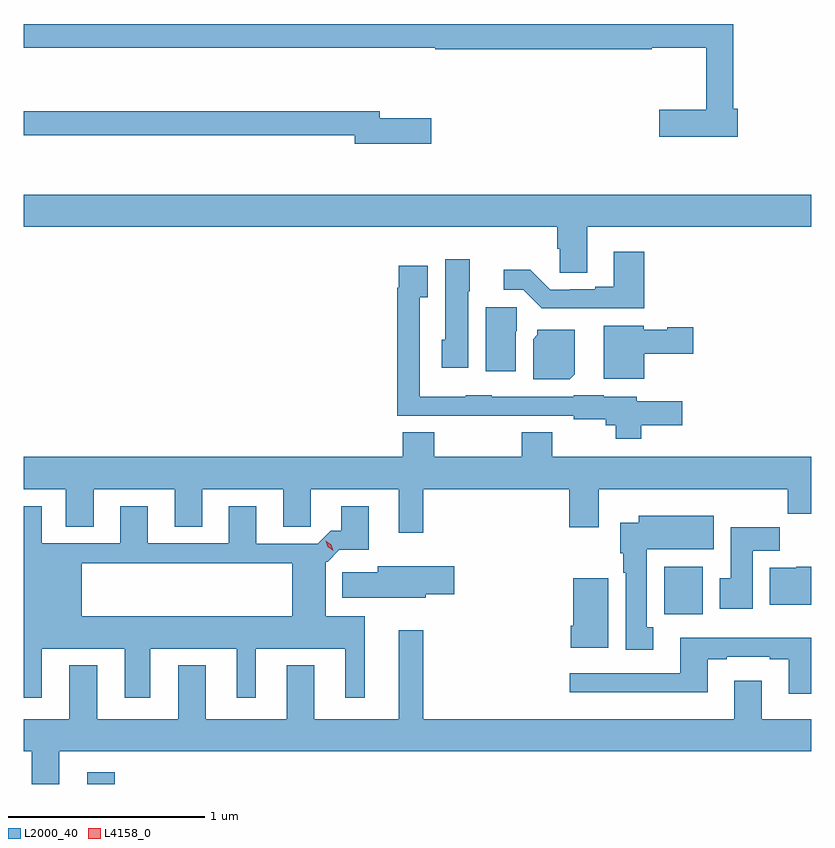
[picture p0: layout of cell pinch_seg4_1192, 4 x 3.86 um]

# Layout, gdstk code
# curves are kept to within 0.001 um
import gdstk
lib = gdstk.Library(unit=1e-6, precision=1e-09)
def R(c, l, rs):  # rectangles x0, y0, x1, y1
    for r in rs: c.add(gdstk.rectangle(r[:2], r[2:], *l))
def P(c, l, *ps):  # polygons
    for p in ps: c.add(gdstk.Polygon(p, *l))
L2000_40 = (2000, 40)
L4158_0 = (4158, 0)

pinch_seg4_1192 = lib.new_cell('pinch_seg4_1192')
R(pinch_seg4_1192, L2000_40, [(347.135,804.646,347.276,804.706), (350.066,805.508,350.263,805.75)])
P(pinch_seg4_1192, L2000_40, [(350.441,808.076),(350.417,808.076),(350.417,808.507),(346.813,808.507),(346.813,808.386),(348.904,808.386),(348.904,808.378),(350.004,808.378),(350.004,808.386),(350.281,808.386),(350.281,808.071),(350.04,808.071),(350.04,807.934),(350.441,807.934)],
  [(348.883,808.029),(348.622,808.029),(348.622,808.063),(346.813,808.063),(346.813,807.942),(348.494,807.942),(348.494,807.899),(348.883,807.899)],
  [(349.675,807.476),(350.813,807.476),(350.813,807.64),(346.813,807.64),(346.813,807.476),(349.523,807.476),(349.523,807.366),(349.536,807.366),(349.536,807.244),(349.675,807.244)],
  [(349.964,807.349),(349.811,807.349),(349.811,807.172),(349.715,807.172),(349.715,807.159),(349.588,807.159),(349.588,807.156),(349.488,807.156),(349.386,807.259),(349.251,807.259),(349.251,807.156),(349.35,807.156),(349.444,807.062),(349.964,807.062)],
  [(349.072,807.15),(349.078,807.15),(349.078,807.313),(348.953,807.313),(348.953,806.904),(348.935,806.904),(348.935,806.76),(349.072,806.76)],
  [(349.949,806.468),(350.158,806.468),(350.158,806.59),(349.926,806.59),(349.926,806.614),(349.758,806.614),(349.758,806.62),(349.608,806.62),(349.608,806.613),(349.191,806.613),(349.191,806.62),(349.059,806.62),(349.059,806.614),(348.825,806.614),(348.825,807.119),(348.865,807.119),(348.865,807.28),(348.717,807.28),(348.717,807.167),(348.709,807.167),(348.709,806.517),(348.959,806.517),(348.959,806.516),(349.191,806.516),(349.191,806.517),(349.608,806.517),(349.608,806.498),(349.769,806.498),(349.769,806.468),(349.821,806.468),(349.821,806.399),(349.949,806.399)],
  [(349.312,806.946),(349.316,806.946),(349.316,807.069),(349.16,807.069),(349.16,806.742),(349.312,806.742)],
  [(349.966,806.831),(350.215,806.831),(350.215,806.966),(350.082,806.966),(350.082,806.953),(349.962,806.953),(349.962,806.974),(349.76,806.974),(349.76,806.705),(349.966,806.705)],
  [(349.612,806.728),(349.612,806.953),(349.422,806.953),(349.422,806.928),(349.4,806.906),(349.4,806.702),(349.586,806.702)],
  [(348.841,806.144),(349.583,806.144),(349.583,805.95),(349.735,805.95),(349.735,806.144),(350.695,806.144),(350.695,806.02),(350.813,806.02),(350.813,806.308),(349.497,806.308),(349.497,806.432),(349.342,806.432),(349.342,806.308),(348.897,806.308),(348.897,806.432),(348.737,806.432),(348.737,806.308),(346.813,806.308),(346.813,806.144),(347.027,806.144),(347.027,805.954),(347.167,805.954),(347.167,806.144),(347.579,806.144),(347.579,805.954),(347.719,805.954),(347.719,806.144),(348.131,806.144),(348.131,805.954),(348.27,805.954),(348.27,806.144),(348.719,806.144),(348.719,805.923),(348.841,805.923)],
  [(346.903,805.083),(346.903,805.334),(347.327,805.334),(347.327,805.083),(347.455,805.083),(347.455,805.334),(347.894,805.334),(347.894,805.083),(347.992,805.083),(347.992,805.334),(348.446,805.334),(348.446,805.083),(348.544,805.083),(348.544,805.498),(348.346,805.498),(348.346,805.776),(348.357,805.776),(348.416,805.835),(348.565,805.835),(348.565,806.056),(348.425,806.056),(348.425,805.933),(348.373,805.933),(348.306,805.866),(347.995,805.866),(347.995,806.056),(347.855,806.056),(347.855,805.869),(347.443,805.869),(347.443,806.056),(347.303,806.056),(347.303,805.869),(346.903,805.869),(346.903,806.056),(346.813,806.056),(346.813,805.498),(347.107,805.498),(347.107,805.768),(348.176,805.768),(348.176,805.498),(346.813,805.498),(346.813,805.083)],
  [(350.011,805.442),(349.978,805.442),(349.978,805.838),(350.317,805.838),(350.317,806.008),(349.937,806.008),(349.937,805.972),(349.844,805.972),(349.844,805.818),(349.858,805.818),(349.858,805.718),(349.871,805.718),(349.871,805.329),(350.011,805.329)],
  [(350.515,805.832),(350.654,805.832),(350.654,805.95),(350.405,805.95),(350.405,805.692),(350.348,805.692),(350.348,805.536),(350.515,805.536)],
  [(348.856,805.61),(349,805.61),(349,805.753),(348.611,805.753),(348.611,805.722),(348.431,805.722),(348.431,805.592),(348.856,805.592)],
  [(350.813,805.75),(350.736,805.75),(350.736,805.744),(350.603,805.744),(350.603,805.556),(350.813,805.556)],
  [(349.783,805.69),(349.604,805.69),(349.604,805.45),(349.592,805.45),(349.592,805.338),(349.783,805.338)],
  [(346.993,804.812),(350.813,804.812),(350.813,804.976),(350.563,804.976),(350.563,805.171),(350.423,805.171),(350.423,804.976),(348.841,804.976),(348.841,805.426),(348.719,805.426),(348.719,804.976),(348.289,804.976),(348.289,805.249),(348.149,805.249),(348.149,804.976),(347.737,804.976),(347.737,805.249),(347.597,805.249),(347.597,804.976),(347.185,804.976),(347.185,805.249),(347.045,805.249),(347.045,804.976),(346.813,804.976),(346.813,804.812),(346.853,804.812),(346.853,804.646),(346.993,804.646)],
  [(350.813,805.39),(350.147,805.39),(350.147,805.209),(349.587,805.209),(349.587,805.112),(350.287,805.112),(350.287,805.281),(350.383,805.281),(350.383,805.293),(350.603,805.293),(350.603,805.281),(350.699,805.281),(350.699,805.104),(350.813,805.104)])
P(pinch_seg4_1192, L4158_0, [(348.385,805.83),(348.358,805.851),(348.348,805.883),(348.348,805.883),(348.348,805.883),(348.375,805.862),(348.385,805.83),(348.385,805.83)])

lib.write_gds('pinch_seg4_1192.gds')
